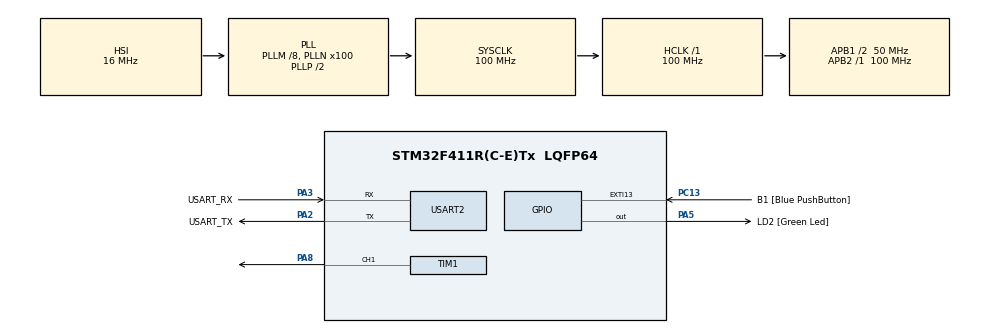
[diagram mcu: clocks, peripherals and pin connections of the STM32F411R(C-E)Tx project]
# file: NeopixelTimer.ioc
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Dma.Request0=TIM1_CH1
Dma.TIM1_CH1.0.Direction=DMA_MEMORY_TO_PERIPH
Dma.TIM1_CH1.0.FIFOMode=DMA_FIFOMODE_DISABLE
Dma.TIM1_CH1.0.Instance=DMA2_Stream1
Dma.TIM1_CH1.0.MemDataAlignment=DMA_MDATAALIGN_HALFWORD
Dma.TIM1_CH1.0.MemInc=DMA_MINC_ENABLE
Dma.TIM1_CH1.0.Mode=DMA_NORMAL
Dma.TIM1_CH1.0.PeriphDataAlignment=DMA_PDATAALIGN_HALFWORD
Dma.TIM1_CH1.0.PeriphInc=DMA_PINC_DISABLE
Dma.TIM1_CH1.0.Priority=DMA_PRIORITY_LOW
Mcu.Family=STM32F4
Mcu.Name=STM32F411R(C-E)Tx
Mcu.Package=LQFP64
NVIC.DMA2_Stream1_IRQn=true\:0\:0\:false\:false\:true\:false\:true
NVIC.PriorityGroup=NVIC_PRIORITYGROUP_0
PA13.GPIO_Label=TMS
PA13.Mode=Serial_Wire
PA13.Signal=SYS_JTMS-SWDIO
PA14.GPIO_Label=TCK
PA14.Mode=Serial_Wire
PA14.Signal=SYS_JTCK-SWCLK
PA2.GPIO_Label=USART_TX
PA2.Mode=Asynchronous
PA2.Signal=USART2_TX
PA3.GPIO_Label=USART_RX
PA3.Mode=Asynchronous
PA3.Signal=USART2_RX
PA5.GPIO_Label=LD2 [Green Led]
PA5.Signal=GPIO_Output
PA8.Signal=S_TIM1_CH1
PB3.GPIO_Label=SWO
PB3.Signal=SYS_JTDO-SWO
PC13-ANTI_TAMP.GPIO_Label=B1 [Blue PushButton]
PC13-ANTI_TAMP.GPIO_ModeDefaultEXTI=GPIO_MODE_IT_FALLING
PC13-ANTI_TAMP.Signal=GPXTI13
PC14-OSC32_IN.Mode=LSE-External-Oscillator
PC14-OSC32_IN.Signal=RCC_OSC32_IN
PC15-OSC32_OUT.Mode=LSE-External-Oscillator
PC15-OSC32_OUT.Signal=RCC_OSC32_OUT
PH0\ -\ OSC_IN.Mode=HSE-External-Clock-Source
PH0\ -\ OSC_IN.Signal=RCC_OSC_IN
PH1\ -\ OSC_OUT.Mode=HSE-External-Clock-Source
PH1\ -\ OSC_OUT.Signal=RCC_OSC_OUT
ProjectManager.HeapSize=0x200
ProjectManager.StackSize=0x400
ProjectManager.TargetToolchain=STM32CubeIDE
RCC.48MHZClocksFreq_Value=50000000
RCC.AHBFreq_Value=100000000
RCC.APB1CLKDivider=RCC_HCLK_DIV2
RCC.APB1Freq_Value=50000000
RCC.APB1TimFreq_Value=100000000
RCC.APB2Freq_Value=100000000
RCC.APB2TimFreq_Value=100000000
RCC.CortexFreq_Value=100000000
RCC.FLatency-AdvancedSettings=FLASH_LATENCY_3
RCC.HCLKFreq_Value=100000000
RCC.HSE_VALUE=8000000
RCC.HSI_VALUE=16000000
RCC.PLLM=8
RCC.PLLN=100
RCC.SYSCLKFreq_VALUE=100000000
RCC.SYSCLKSource=RCC_SYSCLKSOURCE_PLLCLK
RCC.VCOOutputFreq_Value=200000000
SH.S_TIM1_CH1.0=TIM1_CH1,PWM Generation1 CH1
TIM1.AutoReloadPreload=TIM_AUTORELOAD_PRELOAD_DISABLE
TIM1.Channel-PWM\ Generation1\ CH1=TIM_CHANNEL_1
TIM1.OCIdleState_1=TIM_OCIDLESTATE_RESET
TIM1.Period=125-1
USART2.VirtualMode=VM_ASYNC
VP_TIM1_VS_ClockSourceINT.Mode=Internal
board=NUCLEO-F411RE

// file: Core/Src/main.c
/* USER CODE BEGIN Header */
/**
  ******************************************************************************
  * @file           : main.c
  * @brief          : Main program body
  ******************************************************************************
  * @attention
  *
  * Copyright (c) 2021 STMicroelectronics.
  * All rights reserved.
  *
  * This software is licensed under terms that can be found in the LICENSE file
  * in the root directory of this software component.
  * If no LICENSE file comes with this software, it is provided AS-IS.
  *
  ******************************************************************************
  */
/* USER CODE END Header */
#include "main.h"

/* USER CODE BEGIN Includes */
#include "Neopixel.h"

/* USER CODE END Includes */

TIM_HandleTypeDef htim1;
DMA_HandleTypeDef hdma_tim1_ch1;

UART_HandleTypeDef huart2;

/* USER CODE BEGIN PV */
NeopixelParameter Neopixel;
uint32_t timer;
/* USER CODE END PV */

void SystemClock_Config(void);
static void MX_GPIO_Init(void);
static void MX_USART2_UART_Init(void);
static void MX_DMA_Init(void);
static void MX_TIM1_Init(void);

int main(void)
{

  /* MCU Configuration--------------------------------------------------------*/

  /* Reset of all peripherals, Initializes the Flash interface and the Systick. */
  HAL_Init();

  /* Configure the system clock */
  SystemClock_Config();

  /* Initialize all configured peripherals */
  MX_GPIO_Init();
  MX_USART2_UART_Init();
  MX_DMA_Init();
  MX_TIM1_Init();
  /* USER CODE BEGIN 2 */
  Neopixel_Init(&Neopixel, &htim1,TIM_CHANNEL_1);

  Neopixel_Set(&Neopixel, 0, 255, 0, 0);
  Neopixel_Set(&Neopixel, 1, 0, 255, 0);
  Neopixel_Sent(&Neopixel);
  HAL_Delay(1000);

  for (int i = 0;i<NUM_LED;i++){
	  Neopixel_Set(&Neopixel, i, 255, 255, 255);
  }
  Neopixel_Sent(&Neopixel);
  HAL_Delay(2000);

  /* USER CODE END 2 */

  /* Infinite loop */
  /* USER CODE BEGIN WHILE */
  while (1)
  {
	  if (HAL_GetTick()-timer >= 1){
		  timer = HAL_GetTick();
		  Neopixel_Rainbow_Effect(&Neopixel);
	  }
    /* USER CODE END WHILE */

  }
}

void SystemClock_Config(void)
{
  RCC_OscInitTypeDef RCC_OscInitStruct = {0};
  RCC_ClkInitTypeDef RCC_ClkInitStruct = {0};

  /** Configure the main internal regulator output voltage
  */
  __HAL_RCC_PWR_CLK_ENABLE();
  __HAL_PWR_VOLTAGESCALING_CONFIG(PWR_REGULATOR_VOLTAGE_SCALE1);
  /** Initializes the RCC Oscillators according to the specified parameters
  * in the RCC_OscInitTypeDef structure.
  */
  RCC_OscInitStruct.OscillatorType = RCC_OSCILLATORTYPE_HSI;
  RCC_OscInitStruct.HSIState = RCC_HSI_ON;
  RCC_OscInitStruct.HSICalibrationValue = RCC_HSICALIBRATION_DEFAULT;
  RCC_OscInitStruct.PLL.PLLState = RCC_PLL_ON;
  RCC_OscInitStruct.PLL.PLLSource = RCC_PLLSOURCE_HSI;
  RCC_OscInitStruct.PLL.PLLM = 8;
  RCC_OscInitStruct.PLL.PLLN = 100;
  RCC_OscInitStruct.PLL.PLLP = RCC_PLLP_DIV2;
  RCC_OscInitStruct.PLL.PLLQ = 4;
  if (HAL_RCC_OscConfig(&RCC_OscInitStruct) != HAL_OK)
  {
    Error_Handler();
  }
  /** Initializes the CPU, AHB and APB buses clocks
  */
  RCC_ClkInitStruct.ClockType = RCC_CLOCKTYPE_HCLK|RCC_CLOCKTYPE_SYSCLK
                              |RCC_CLOCKTYPE_PCLK1|RCC_CLOCKTYPE_PCLK2;
  RCC_ClkInitStruct.SYSCLKSource = RCC_SYSCLKSOURCE_PLLCLK;
  RCC_ClkInitStruct.AHBCLKDivider = RCC_SYSCLK_DIV1;
  RCC_ClkInitStruct.APB1CLKDivider = RCC_HCLK_DIV2;
  RCC_ClkInitStruct.APB2CLKDivider = RCC_HCLK_DIV1;

  if (HAL_RCC_ClockConfig(&RCC_ClkInitStruct, FLASH_LATENCY_3) != HAL_OK)
  {
    Error_Handler();
  }
}

static void MX_TIM1_Init(void)
{

  TIM_ClockConfigTypeDef sClockSourceConfig = {0};
  TIM_MasterConfigTypeDef sMasterConfig = {0};
  TIM_OC_InitTypeDef sConfigOC = {0};
  TIM_BreakDeadTimeConfigTypeDef sBreakDeadTimeConfig = {0};

  htim1.Instance = TIM1;
  htim1.Init.Prescaler = 0;
  htim1.Init.CounterMode = TIM_COUNTERMODE_UP;
  htim1.Init.Period = 125-1;
  htim1.Init.ClockDivision = TIM_CLOCKDIVISION_DIV1;
  htim1.Init.RepetitionCounter = 0;
  htim1.Init.AutoReloadPreload = TIM_AUTORELOAD_PRELOAD_DISABLE;
  if (HAL_TIM_Base_Init(&htim1) != HAL_OK)
  {
    Error_Handler();
  }
  sClockSourceConfig.ClockSource = TIM_CLOCKSOURCE_INTERNAL;
  if (HAL_TIM_ConfigClockSource(&htim1, &sClockSourceConfig) != HAL_OK)
  {
    Error_Handler();
  }
  if (HAL_TIM_PWM_Init(&htim1) != HAL_OK)
  {
    Error_Handler();
  }
  sMasterConfig.MasterOutputTrigger = TIM_TRGO_RESET;
  sMasterConfig.MasterSlaveMode = TIM_MASTERSLAVEMODE_DISABLE;
  if (HAL_TIMEx_MasterConfigSynchronization(&htim1, &sMasterConfig) != HAL_OK)
  {
    Error_Handler();
  }
  sConfigOC.OCMode = TIM_OCMODE_PWM1;
  sConfigOC.Pulse = 0;
  sConfigOC.OCPolarity = TIM_OCPOLARITY_HIGH;
  sConfigOC.OCNPolarity = TIM_OCNPOLARITY_HIGH;
  sConfigOC.OCFastMode = TIM_OCFAST_DISABLE;
  sConfigOC.OCIdleState = TIM_OCIDLESTATE_RESET;
  sConfigOC.OCNIdleState = TIM_OCNIDLESTATE_RESET;
  if (HAL_TIM_PWM_ConfigChannel(&htim1, &sConfigOC, TIM_CHANNEL_1) != HAL_OK)
  {
    Error_Handler();
  }
  sBreakDeadTimeConfig.OffStateRunMode = TIM_OSSR_DISABLE;
  sBreakDeadTimeConfig.OffStateIDLEMode = TIM_OSSI_DISABLE;
  sBreakDeadTimeConfig.LockLevel = TIM_LOCKLEVEL_OFF;
  sBreakDeadTimeConfig.DeadTime = 0;
  sBreakDeadTimeConfig.BreakState = TIM_BREAK_DISABLE;
  sBreakDeadTimeConfig.BreakPolarity = TIM_BREAKPOLARITY_HIGH;
  sBreakDeadTimeConfig.AutomaticOutput = TIM_AUTOMATICOUTPUT_DISABLE;
  if (HAL_TIMEx_ConfigBreakDeadTime(&htim1, &sBreakDeadTimeConfig) != HAL_OK)
  {
    Error_Handler();
  }
  HAL_TIM_MspPostInit(&htim1);

}

static void MX_USART2_UART_Init(void)
{

  huart2.Instance = USART2;
  huart2.Init.BaudRate = 115200;
  huart2.Init.WordLength = UART_WORDLENGTH_8B;
  huart2.Init.StopBits = UART_STOPBITS_1;
  huart2.Init.Parity = UART_PARITY_NONE;
  huart2.Init.Mode = UART_MODE_TX_RX;
  huart2.Init.HwFlowCtl = UART_HWCONTROL_NONE;
  huart2.Init.OverSampling = UART_OVERSAMPLING_16;
  if (HAL_UART_Init(&huart2) != HAL_OK)
  {
    Error_Handler();
  }

}

static void MX_DMA_Init(void)
{

  /* DMA controller clock enable */
  __HAL_RCC_DMA2_CLK_ENABLE();

  /* DMA interrupt init */
  /* DMA2_Stream1_IRQn interrupt configuration */
  HAL_NVIC_SetPriority(DMA2_Stream1_IRQn, 0, 0);
  HAL_NVIC_EnableIRQ(DMA2_Stream1_IRQn);

}

static void MX_GPIO_Init(void)
{
  GPIO_InitTypeDef GPIO_InitStruct = {0};

  /* GPIO Ports Clock Enable */
  __HAL_RCC_GPIOC_CLK_ENABLE();
  __HAL_RCC_GPIOH_CLK_ENABLE();
  __HAL_RCC_GPIOA_CLK_ENABLE();
  __HAL_RCC_GPIOB_CLK_ENABLE();

  /*Configure GPIO pin Output Level */
  HAL_GPIO_WritePin(LD2_GPIO_Port, LD2_Pin, GPIO_PIN_RESET);

  /*Configure GPIO pin : B1_Pin */
  GPIO_InitStruct.Pin = B1_Pin;
  GPIO_InitStruct.Mode = GPIO_MODE_IT_FALLING;
  GPIO_InitStruct.Pull = GPIO_NOPULL;
  HAL_GPIO_Init(B1_GPIO_Port, &GPIO_InitStruct);

  /*Configure GPIO pin : LD2_Pin */
  GPIO_InitStruct.Pin = LD2_Pin;
  GPIO_InitStruct.Mode = GPIO_MODE_OUTPUT_PP;
  GPIO_InitStruct.Pull = GPIO_NOPULL;
  GPIO_InitStruct.Speed = GPIO_SPEED_FREQ_LOW;
  HAL_GPIO_Init(LD2_GPIO_Port, &GPIO_InitStruct);

}

/* USER CODE BEGIN 4 */
void HAL_TIM_PWM_PulseFinishedCallback(TIM_HandleTypeDef *htim){
	HAL_TIM_PWM_Stop_DMA(Neopixel.htim, Neopixel.timer_Channel);
}
/* USER CODE END 4 */

void Error_Handler(void)
{
  __disable_irq();
  while (1)
  {
  }
}
